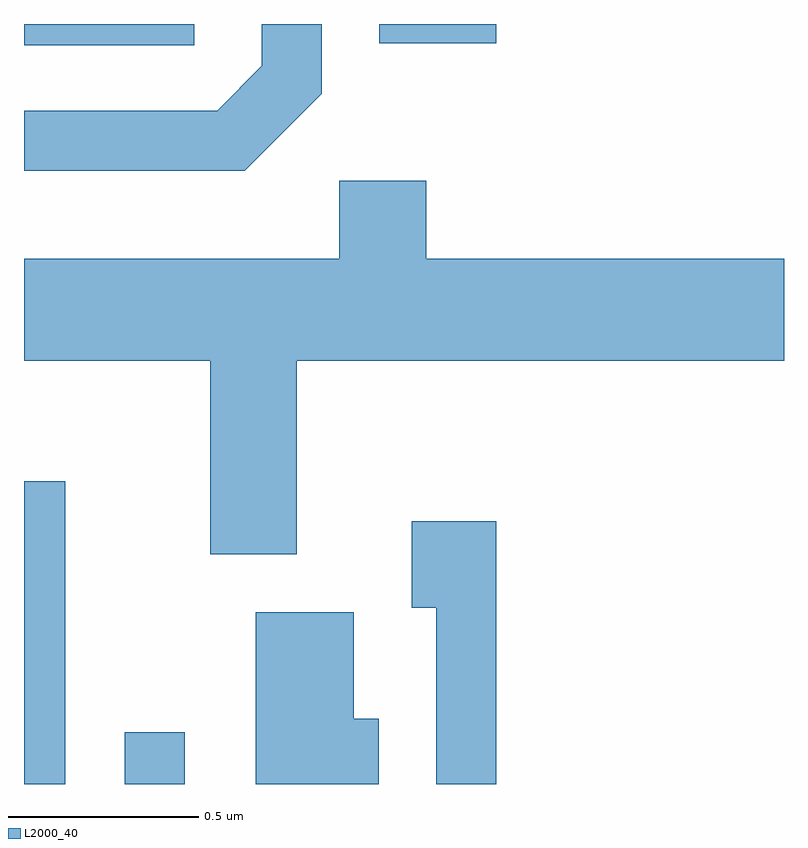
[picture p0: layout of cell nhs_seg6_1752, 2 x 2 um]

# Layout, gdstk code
import gdstk
lib = gdstk.Library(unit=1e-6, precision=1e-09)
def R(c, l, rs):  # rectangles x0, y0, x1, y1
    for r in rs: c.add(gdstk.rectangle(r[:2], r[2:], *l))
def P(c, l, *ps):  # polygons
    for p in ps: c.add(gdstk.Polygon(p, *l))
L2000_40 = (2000, 40)

nhs_seg6_1752 = lib.new_cell('nhs_seg6_1752')
R(nhs_seg6_1752, L2000_40, [(197.611,1642.162,197.719,1642.959), (197.876,1642.162,198.034,1642.298), (197.611,1644.106,198.059,1644.162), (198.546,1644.111,198.854,1644.162)])
P(nhs_seg6_1752, L2000_40, [(198.394,1643.979),(198.394,1644.162),(198.236,1644.162),(198.236,1644.052),(198.119,1643.934),(197.611,1643.934),(197.611,1643.776),(198.192,1643.776)],
  [(198.329,1643.276),(199.611,1643.276),(199.611,1643.544),(198.669,1643.544),(198.669,1643.749),(198.441,1643.749),(198.441,1643.544),(197.611,1643.544),(197.611,1643.276),(198.101,1643.276),(198.101,1642.766),(198.329,1642.766)],
  [(198.854,1642.854),(198.631,1642.854),(198.631,1642.626),(198.696,1642.626),(198.696,1642.162),(198.854,1642.162)],
  [(198.544,1642.334),(198.479,1642.334),(198.479,1642.614),(198.221,1642.614),(198.221,1642.162),(198.544,1642.162)])

lib.write_gds('nhs_seg6_1752.gds')
